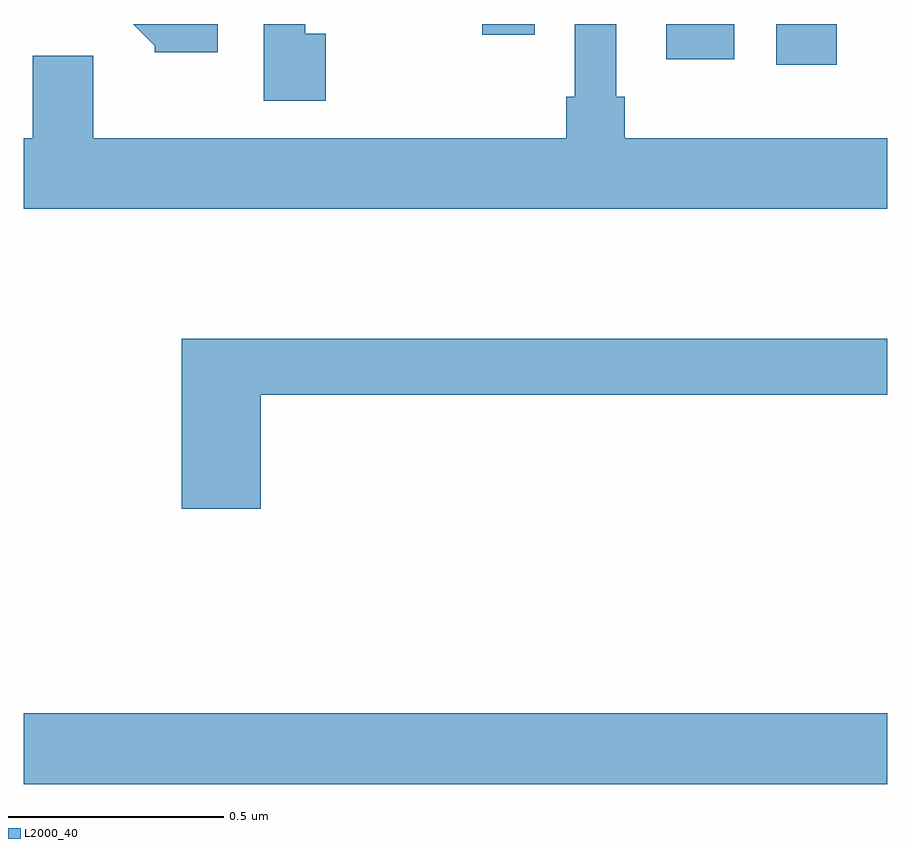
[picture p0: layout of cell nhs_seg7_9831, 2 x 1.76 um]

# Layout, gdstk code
import gdstk
lib = gdstk.Library(unit=1e-6, precision=1e-09)
def R(c, l, rs):  # rectangles x0, y0, x1, y1
    for r in rs: c.add(gdstk.rectangle(r[:2], r[2:], *l))
def P(c, l, *ps):  # polygons
    for p in ps: c.add(gdstk.Polygon(p, *l))
L2000_40 = (2000, 40)

nhs_seg7_9831 = lib.new_cell('nhs_seg7_9831')
R(nhs_seg7_9831, L2000_40, [(242,1043.24,244,1043.404), (243.743,1044.906,243.883,1045), (243.488,1044.918,243.646,1045), (243.062,1044.975,243.184,1045)])
P(nhs_seg7_9831, L2000_40, [(244,1044.736),(243.392,1044.736),(243.392,1044.832),(243.372,1044.832),(243.372,1045),(243.276,1045),(243.276,1044.832),(243.256,1044.832),(243.256,1044.736),(242.161,1044.736),(242.161,1044.926),(242.021,1044.926),(242.021,1044.736),(242,1044.736),(242,1044.572),(244,1044.572)],
  [(242.7,1044.978),(242.652,1044.978),(242.652,1045),(242.556,1045),(242.556,1044.822),(242.7,1044.822)],
  [(242.449,1045),(242.254,1045),(242.304,1044.95),(242.304,1044.935),(242.449,1044.935)],
  [(242.549,1044.142),(244,1044.142),(244,1044.271),(242.366,1044.271),(242.366,1043.877),(242.549,1043.877)])

lib.write_gds('nhs_seg7_9831.gds')
